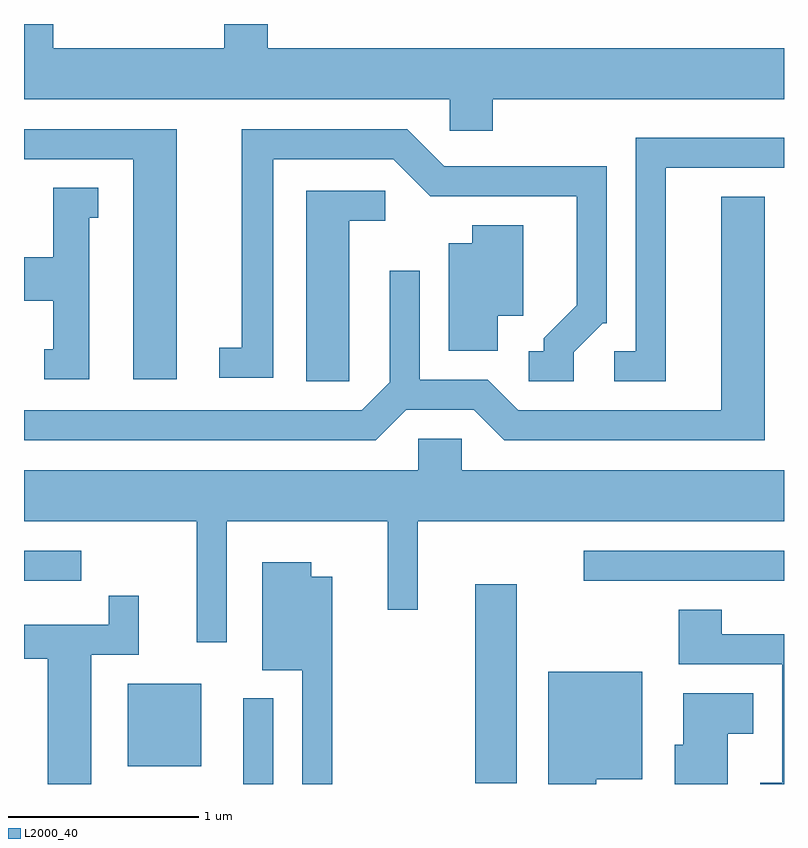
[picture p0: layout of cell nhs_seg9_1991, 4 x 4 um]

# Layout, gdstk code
import gdstk
lib = gdstk.Library(unit=1e-6, precision=1e-09)
def R(c, l, rs):  # rectangles x0, y0, x1, y1
    for r in rs: c.add(gdstk.rectangle(r[:2], r[2:], *l))
def P(c, l, *ps):  # polygons
    for p in ps: c.add(gdstk.Polygon(p, *l))
L2000_40 = (2000, 40)

nhs_seg9_1991 = lib.new_cell('nhs_seg9_1991')
R(nhs_seg9_1991, L2000_40, [(244.766,1990.432,244.924,1990.883), (245.986,1990.436,246.204,1991.484), (244.156,1990.526,244.544,1990.959), (243.611,1991.501,243.913,1991.659), (246.558,1991.501,247.611,1991.659)])
P(nhs_seg9_1991, L2000_40, [(246.079,1994.036),(247.611,1994.036),(247.611,1994.304),(244.894,1994.304),(244.894,1994.432),(244.666,1994.432),(244.666,1994.304),(243.764,1994.304),(243.764,1994.432),(243.611,1994.432),(243.611,1994.036),(245.851,1994.036),(245.851,1993.871),(246.079,1993.871)],
  [(244.414,1993.879),(243.611,1993.879),(243.611,1993.721),(244.186,1993.721),(244.186,1992.561),(244.414,1992.561)],
  [(246.504,1992.704),(246.657,1992.856),(246.679,1992.856),(246.679,1993.684),(245.822,1993.684),(245.627,1993.879),(244.756,1993.879),(244.756,1992.729),(244.638,1992.729),(244.638,1992.571),(244.924,1992.571),(244.924,1993.721),(245.554,1993.721),(245.749,1993.526),(246.521,1993.526),(246.521,1992.952),(246.346,1992.777),(246.346,1992.709),(246.268,1992.709),(246.268,1992.551),(246.504,1992.551)],
  [(246.989,1993.676),(247.611,1993.676),(247.611,1993.834),(246.831,1993.834),(246.831,1992.709),(246.718,1992.709),(246.718,1992.551),(246.989,1992.551)],
  [(243.954,1993.411),(244.003,1993.411),(244.003,1993.569),(243.766,1993.569),(243.766,1993.204),(243.611,1993.204),(243.611,1992.976),(243.766,1992.976),(243.766,1992.719),(243.718,1992.719),(243.718,1992.561),(243.954,1992.561)],
  [(245.324,1993.396),(245.513,1993.396),(245.513,1993.554),(245.096,1993.554),(245.096,1992.551),(245.324,1992.551)],
  [(245.622,1992.401),(245.979,1992.401),(246.139,1992.241),(247.509,1992.241),(247.509,1993.524),(247.281,1993.524),(247.281,1992.399),(246.212,1992.399),(246.052,1992.559),(245.694,1992.559),(245.694,1993.133),(245.536,1993.133),(245.536,1992.547),(245.389,1992.399),(243.611,1992.399),(243.611,1992.241),(245.462,1992.241)],
  [(246.104,1992.896),(246.239,1992.896),(246.239,1993.374),(245.971,1993.374),(245.971,1993.279),(245.846,1993.279),(245.846,1992.711),(246.104,1992.711)],
  [(244.679,1991.816),(245.526,1991.816),(245.526,1991.348),(245.684,1991.348),(245.684,1991.816),(247.611,1991.816),(247.611,1992.084),(245.914,1992.084),(245.914,1992.249),(245.686,1992.249),(245.686,1992.084),(243.611,1992.084),(243.611,1991.816),(244.521,1991.816),(244.521,1991.178),(244.679,1991.178)],
  [(245.234,1991.524),(245.124,1991.524),(245.124,1991.599),(244.866,1991.599),(244.866,1991.031),(245.076,1991.031),(245.076,1990.432),(245.234,1990.432)],
  [(243.964,1991.111),(244.214,1991.111),(244.214,1991.423),(244.056,1991.423),(244.056,1991.269),(243.611,1991.269),(243.611,1991.091),(243.736,1991.091),(243.736,1990.432),(243.964,1990.432)],
  [(247.611,1991.219),(247.284,1991.219),(247.284,1991.349),(247.056,1991.349),(247.056,1991.061),(247.601,1991.061),(247.601,1990.439),(247.486,1990.439),(247.486,1990.432),(247.611,1990.432)],
  [(246.624,1990.456),(246.864,1990.456),(246.864,1991.024),(246.371,1991.024),(246.371,1990.432),(246.624,1990.432)],
  [(247.314,1990.696),(247.449,1990.696),(247.449,1990.909),(247.081,1990.909),(247.081,1990.639),(247.036,1990.639),(247.036,1990.432),(247.314,1990.432)])

lib.write_gds('nhs_seg9_1991.gds')
